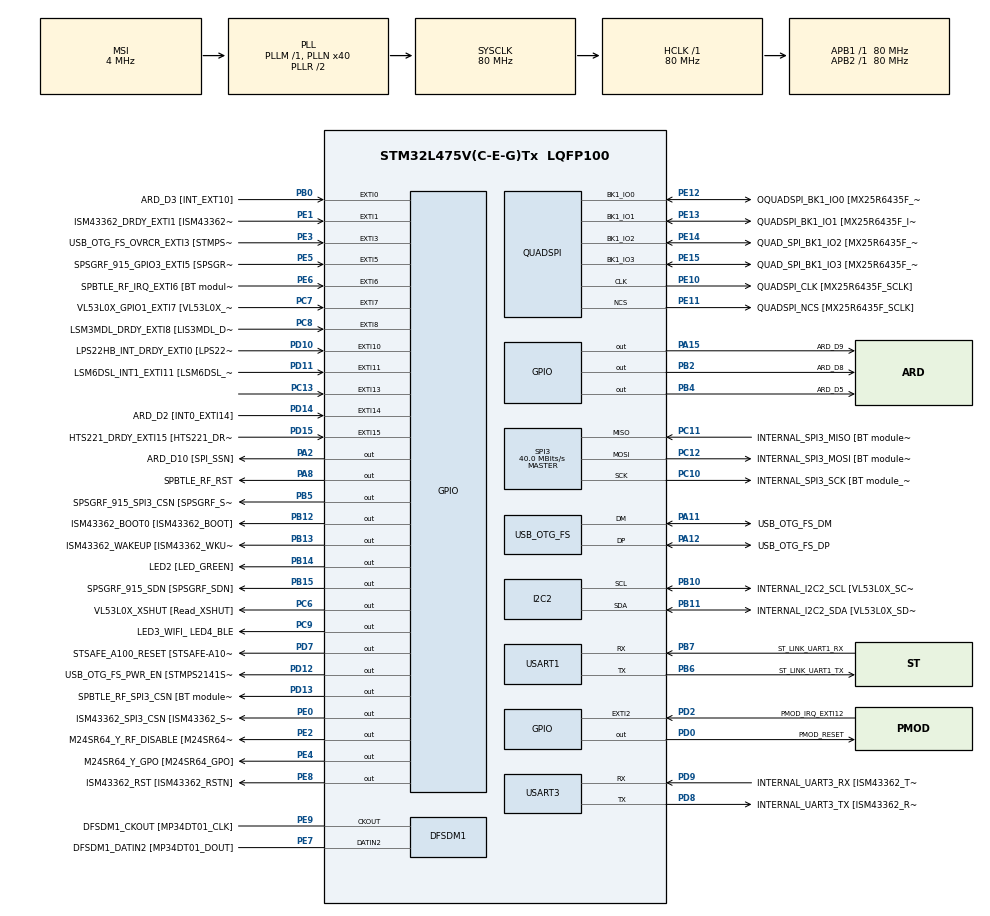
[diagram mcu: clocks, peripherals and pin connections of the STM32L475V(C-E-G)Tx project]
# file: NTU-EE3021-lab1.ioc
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FREERTOS.BinarySemaphores01=task1Sem,Dynamic,NULL,Available;task2Sem,Dynamic,NULL,Available
FREERTOS.Mutexes01=LED_mutex,Dynamic,NULL,Available
FREERTOS.Queues01=blinkQueue,16,uint16_t,0,Dynamic,NULL,NULL
FREERTOS.Tasks01=defaultTask,24,128,StartDefaultTask,Default,NULL,Dynamic,NULL,NULL;myTask02,47,128,StartTask02,Default,NULL,Dynamic,NULL,NULL
FREERTOS.Timers01=task2Timer,task2TimerCallback,osTimerPeriodic,Default,NULL,Dynamic,NULL
Mcu.Family=STM32L4
Mcu.Name=STM32L475V(C-E-G)Tx
Mcu.Package=LQFP100
NVIC.EXTI15_10_IRQn=true\:5\:0\:false\:false\:true\:true\:true\:true\:true
NVIC.EXTI9_5_IRQn=true\:5\:0\:false\:false\:true\:true\:true\:true\:true
NVIC.PriorityGroup=NVIC_PRIORITYGROUP_4
PA0.GPIO_Label=ARD_D1 [UART4_TX]
PA0.Signal=UART4_TX
PA1.GPIO_Label=ARD_D0 [UART4_RX]
PA1.Signal=UART4_RX
PA10.GPIO_Label=USB_OTG_FS_ID
PA10.Signal=USB_OTG_FS_ID
PA11.GPIO_Label=USB_OTG_FS_DM
PA11.Mode=Device_Only
PA11.Signal=USB_OTG_FS_DM
PA12.GPIO_Label=USB_OTG_FS_DP
PA12.Mode=Device_Only
PA12.Signal=USB_OTG_FS_DP
PA13\ (JTMS-SWDIO).GPIO_Label=SYS_JTMS_SWDIO
PA13\ (JTMS-SWDIO).Mode=Serial_Wire
PA13\ (JTMS-SWDIO).Signal=SYS_JTMS-SWDIO
PA14\ (JTCK-SWCLK).GPIO_Label=SYS_JTCK_SWCLK
PA14\ (JTCK-SWCLK).Mode=Serial_Wire
PA14\ (JTCK-SWCLK).Signal=SYS_JTCK-SWCLK
PA15\ (JTDI).GPIO_Label=ARD_D9
PA15\ (JTDI).Signal=GPIO_Output
PA2.GPIO_Label=ARD_D10 [SPI_SSN]
PA2.Signal=GPIO_Output
PA3.GPIO_Label=ARD_D4
PA3.Signal=S_TIM2_CH4
PA4.GPIO_Label=ARD_D7
PA4.Signal=ADCx_IN9
PA5.GPIO_Label=ARD_D13 [SPI1_SCK]
PA5.Signal=SPI1_SCK
PA6.GPIO_Label=ARD_D12 [SPI1_MISO]
PA6.Signal=SPI1_MISO
PA7.GPIO_Label=ARD_D11 [SPI1_MOSI]
PA7.Signal=SPI1_MOSI
PA8.GPIO_Label=SPBTLE_RF_RST
PA8.Signal=GPIO_Output
PA9.GPIO_Label=USB_OTG_FS_VBUS [STMPS2141STR_OUT]
PA9.Signal=USB_OTG_FS_VBUS
PB0.GPIO_Label=ARD_D3 [INT_EXT10]
PB0.Signal=GPXTI0
PB1.GPIO_Label=ARD_D6 [ADC1_IN6]
PB1.Signal=ADCx_IN16
PB10.GPIO_Label=INTERNAL_I2C2_SCL [VL53L0X_SCL]
PB10.GPIO_Pu=GPIO_PULLUP
PB10.Mode=I2C
PB10.Signal=I2C2_SCL
PB11.GPIO_Label=INTERNAL_I2C2_SDA [VL53L0X_SDA]
PB11.GPIO_Pu=GPIO_PULLUP
PB11.Mode=I2C
PB11.Signal=I2C2_SDA
PB12.GPIO_Label=ISM43362_BOOT0 [ISM43362_BOOT]
PB12.Signal=GPIO_Output
PB13.GPIO_Label=ISM43362_WAKEUP [ISM43362_WKUP]
PB13.Signal=GPIO_Output
PB14.GPIO_Label=LED2 [LED_GREEN]
PB14.Signal=GPIO_Output
PB15.GPIO_Label=SPSGRF_915_SDN [SPSGRF_SDN]
PB15.Signal=GPIO_Output
PB2.GPIO_Label=ARD_D8
PB2.Signal=GPIO_Output
PB3\ (JTDO-TRACESWO).GPIO_Label=SYS_JTD0_SWO
PB3\ (JTDO-TRACESWO).Signal=SYS_JTDO-SWO
PB4\ (NJTRST).GPIO_Label=ARD_D5
PB4\ (NJTRST).Signal=GPIO_Output
PB5.GPIO_Label=SPSGRF_915_SPI3_CSN [SPSGRF_SPI_CS]
PB5.PinState=GPIO_PIN_SET
PB5.Signal=GPIO_Output
PB6.GPIO_Label=ST_LINK_UART1_TX
PB6.Mode=Asynchronous
PB6.Signal=USART1_TX
PB7.GPIO_Label=ST_LINK_UART1_RX
PB7.Mode=Asynchronous
PB7.Signal=USART1_RX
PB8.GPIO_Label=ARD_D15 [I2C1_SCL]
PB8.Signal=I2C1_SCL
PB9.GPIO_Label=ARD_D14 [I2C1_SDA]
PB9.Signal=I2C1_SDA
PC0.GPIO_Label=ARD_A5 [ADC]
PC0.Signal=ADCx_IN1
PC1.GPIO_Label=ARD_A4 [ADC]
PC1.Signal=ADCx_IN2
PC10.GPIO_Label=INTERNAL_SPI3_SCK [BT module_SPI_SCLK] [ISM43362_SCK]
PC10.Mode=Full_Duplex_Master
PC10.Signal=SPI3_SCK
PC11.GPIO_Label=INTERNAL_SPI3_MISO [BT module_SPI_MISO] [ISM43362_MISO]
PC11.Mode=Full_Duplex_Master
PC11.Signal=SPI3_MISO
PC12.GPIO_Label=INTERNAL_SPI3_MOSI [BT module_SPI_MOSI] [ISM43362_MOSI]
PC12.Mode=Full_Duplex_Master
PC12.Signal=SPI3_MOSI
PC13.GPIO_ModeDefaultEXTI=GPIO_MODE_IT_RISING_FALLING
PC13.Signal=GPXTI13
PC14-OSC32_IN\ (PC14).Mode=LSE-External-Oscillator
PC14-OSC32_IN\ (PC14).Signal=RCC_OSC32_IN
PC15-OSC32_OUT\ (PC15).Mode=LSE-External-Oscillator
PC15-OSC32_OUT\ (PC15).Signal=RCC_OSC32_OUT
PC2.GPIO_Label=ARD_A3 [ADC]
PC2.Signal=ADCx_IN3
PC3.GPIO_Label=ARD_A2 [ADC]
PC3.Signal=ADCx_IN4
PC4.GPIO_Label=ARD_A1 [ADC]
PC4.Signal=ADCx_IN13
PC5.GPIO_Label=ARD_A0 [ADC]
PC5.Signal=ADCx_IN14
PC6.GPIO_Label=VL53L0X_XSHUT [Read_XSHUT]
PC6.Signal=GPIO_Output
PC7.GPIO_Label=VL53L0X_GPIO1_EXTI7 [VL53L0X_GPIO1]
PC7.Signal=GPXTI7
PC8.GPIO_Label=LSM3MDL_DRDY_EXTI8 [LIS3MDL_DRDY]
PC8.Signal=GPXTI8
PC9.GPIO_Label=LED3_WIFI_ LED4_BLE
PC9.Signal=GPIO_Output
PD0.GPIO_Label=PMOD_RESET
PD0.Signal=GPIO_Output
PD1.GPIO_Label=PMOD_SPI2_SCK
PD1.Signal=SPI2_SCK
PD10.GPIO_Label=LPS22HB_INT_DRDY_EXTI0 [LPS22HB_INT_DRDY] 
PD10.Signal=GPXTI10
PD11.GPIO_Label=LSM6DSL_INT1_EXTI11 [LSM6DSL_INT1]
PD11.Signal=GPXTI11
PD12.GPIO_Label=USB_OTG_FS_PWR_EN [STMPS2141STR_EN]
PD12.Signal=GPIO_Output
PD13.GPIO_Label=SPBTLE_RF_SPI3_CSN [BT module_SPI_CS]
PD13.PinState=GPIO_PIN_SET
PD13.Signal=GPIO_Output
PD14.GPIO_Label=ARD_D2 [INT0_EXTI14]
PD14.Signal=GPXTI14
PD15.GPIO_Label=HTS221_DRDY_EXTI15 [HTS221_DRDY]
PD15.Signal=GPXTI15
PD2.GPIO_Label=PMOD_IRQ_EXTI12
PD2.Signal=GPXTI2
PD3.GPIO_Label=PMOD_UART2_CTS
PD3.Signal=USART2_CTS
PD4.GPIO_Label=PMOD_UART2_RTS
PD4.Signal=USART2_RTS
PD5.GPIO_Label=PMOD_UART2_TX
PD5.Signal=USART2_TX
PD6.GPIO_Label=PMOD_UART2_RX
PD6.Signal=USART2_RX
PD7.GPIO_Label=STSAFE_A100_RESET [STSAFE-A100_RESET]
PD7.Signal=GPIO_Output
PD8.GPIO_Label=INTERNAL_UART3_TX [ISM43362_RX]
PD8.Mode=Asynchronous
PD8.Signal=USART3_TX
PD9.GPIO_Label=INTERNAL_UART3_RX [ISM43362_TX]
PD9.Mode=Asynchronous
PD9.Signal=USART3_RX
PE0.GPIO_Label=ISM43362_SPI3_CSN [ISM43362_SSN]
PE0.PinState=GPIO_PIN_SET
PE0.Signal=GPIO_Output
PE1.GPIO_Label=ISM43362_DRDY_EXTI1 [ISM43362_DATARDY]
PE1.Signal=GPXTI1
PE10.GPIO_Label=QUADSPI_CLK [MX25R6435F_SCLK]
PE10.Mode=Single Bank
PE10.Signal=QUADSPI_CLK
PE11.GPIO_Label=QUADSPI_NCS [MX25R6435F_SCLK]
PE11.Mode=Single Bank
PE11.Signal=QUADSPI_NCS
PE12.GPIO_Label=OQUADSPI_BK1_IO0 [MX25R6435F_IO0]
PE12.Mode=Single Bank
PE12.Signal=QUADSPI_BK1_IO0
PE13.GPIO_Label=QUADSPI_BK1_IO1 [MX25R6435F_IO1]
PE13.Mode=Single Bank
PE13.Signal=QUADSPI_BK1_IO1
PE14.GPIO_Label=QUAD_SPI_BK1_IO2 [MX25R6435F_IO2]
PE14.Mode=Single Bank
PE14.Signal=QUADSPI_BK1_IO2
PE15.GPIO_Label=QUAD_SPI_BK1_IO3 [MX25R6435F_IO3]
PE15.Mode=Single Bank
PE15.Signal=QUADSPI_BK1_IO3
PE2.GPIO_Label=M24SR64_Y_RF_DISABLE [M24SR64_RFDIS]
PE2.Signal=GPIO_Output
PE3.GPIO_Label=USB_OTG_FS_OVRCR_EXTI3 [STMPS2141STR_FAULT]
PE3.Signal=GPXTI3
PE4.GPIO_Label=M24SR64_Y_GPO [M24SR64_GPO]
PE4.Signal=GPIO_Output
PE5.GPIO_Label=SPSGRF_915_GPIO3_EXTI5 [SPSGRF_GPIO_3]
PE5.Signal=GPXTI5
PE6.GPIO_Label=SPBTLE_RF_IRQ_EXTI6 [BT module_SPI_IRQ]
PE6.Signal=GPXTI6
PE7.GPIO_Label=DFSDM1_DATIN2 [MP34DT01_DOUT]
PE7.Signal=S_DATAIN2DFSDM1
PE8.GPIO_Label=ISM43362_RST [ISM43362_RSTN]
PE8.Signal=GPIO_Output
PE9.GPIO_Label=DFSDM1_CKOUT [MP34DT01_CLK]
PE9.Signal=S_CKOUTDFSDM1
ProjectManager.HeapSize=0x200
ProjectManager.StackSize=0x400
ProjectManager.TargetToolchain=STM32CubeIDE
QUADSPI.ClockPrescaler=2
QUADSPI.FifoThreshold=4
QUADSPI.FlashSize=23
QUADSPI.SampleShifting=QSPI_SAMPLE_SHIFTING_HALFCYCLE
RCC.ADCFreq_Value=48000000
RCC.AHBFreq_Value=80000000
RCC.APB1Freq_Value=80000000
RCC.APB1TimFreq_Value=80000000
RCC.APB2Freq_Value=80000000
RCC.APB2TimFreq_Value=80000000
RCC.CortexFreq_Value=80000000
RCC.HCLKFreq_Value=80000000
RCC.HSE_VALUE=8000000
RCC.HSI_VALUE=16000000
RCC.MSI_VALUE=4000000
RCC.PLLN=40
RCC.PLLSAI1N=24
RCC.SYSCLKFreq_VALUE=80000000
RCC.SYSCLKSource=RCC_SYSCLKSOURCE_PLLCLK
RCC.USBFreq_Value=48000000
RCC.VCOOutputFreq_Value=160000000
SH.ADCx_IN1.0=ADC1_IN1
SH.ADCx_IN13.0=ADC1_IN13
SH.ADCx_IN14.0=ADC1_IN14
SH.ADCx_IN16.0=ADC1_IN16
SH.ADCx_IN2.0=ADC1_IN2
SH.ADCx_IN3.0=ADC1_IN3
SH.ADCx_IN4.0=ADC1_IN4
SH.ADCx_IN9.0=ADC1_IN9
SH.S_CKOUTDFSDM1.0=DFSDM1_CKOUT,CKOUT
SH.S_CKOUTDFSDM1.1=DFSDM1_CKOUT,PDM_SPI_Input_from_ch12_and_Internal_Clock
SH.S_DATAIN2DFSDM1.0=DFSDM1_DATIN2,PDM_SPI_Input_from_ch12_and_Internal_Clock
SH.S_TIM2_CH4.0=TIM2_CH4
SPI3.CalculateBaudRate=40.0 MBits/s
SPI3.Direction=SPI_DIRECTION_2LINES
SPI3.Mode=SPI_MODE_MASTER
SPI3.VirtualType=VM_MASTER
USART1.VirtualMode-Asynchronous=VM_ASYNC
USART3.VirtualMode-Asynchronous=VM_ASYNC
USB_OTG_FS.VirtualMode=Device_Only
VP_FREERTOS_VS_CMSIS_V2.Mode=CMSIS_V2
board=B-L475E-IOT01A2

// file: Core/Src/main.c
/* USER CODE BEGIN Header */
/**
 ******************************************************************************
 * @file           : main.c
 * @brief          : Main program body
 ******************************************************************************
 * @attention
 *
 * Copyright (c) 2025 STMicroelectronics.
 * All rights reserved.
 *
 * This software is licensed under terms that can be found in the LICENSE file
 * in the root directory of this software component.
 * If no LICENSE file comes with this software, it is provided AS-IS.
 *
 ******************************************************************************
 */
/* USER CODE END Header */
#include "main.h"
#include "cmsis_os.h"

/* USER CODE BEGIN Includes */
#include <stdbool.h>

/* USER CODE END Includes */

DFSDM_Channel_HandleTypeDef hdfsdm1_channel1;

I2C_HandleTypeDef hi2c2;

QSPI_HandleTypeDef hqspi;

SPI_HandleTypeDef hspi3;

UART_HandleTypeDef huart1;
UART_HandleTypeDef huart3;

PCD_HandleTypeDef hpcd_USB_OTG_FS;

/* Definitions for defaultTask */
osThreadId_t defaultTaskHandle;
const osThreadAttr_t defaultTask_attributes = {
    .name = "defaultTask",
    .stack_size = 128 * 4,
    .priority = (osPriority_t)osPriorityNormal,
};
/* Definitions for myTask02 */
osThreadId_t myTask02Handle;
const osThreadAttr_t myTask02_attributes = {
    .name = "myTask02",
    .stack_size = 128 * 4,
    .priority = (osPriority_t)osPriorityHigh7,
};
/* Definitions for blinkQueue */
osMessageQueueId_t blinkQueueHandle;
const osMessageQueueAttr_t blinkQueue_attributes = {
    .name = "blinkQueue"};
/* Definitions for task2Timer */
osTimerId_t task2TimerHandle;
const osTimerAttr_t task2Timer_attributes = {
    .name = "task2Timer"};
/* Definitions for LED_mutex */
osMutexId_t LED_mutexHandle;
const osMutexAttr_t LED_mutex_attributes = {
    .name = "LED_mutex"};
/* Definitions for task1Sem */
osSemaphoreId_t task1SemHandle;
const osSemaphoreAttr_t task1Sem_attributes = {
    .name = "task1Sem"};
/* Definitions for task2Sem */
osSemaphoreId_t task2SemHandle;
const osSemaphoreAttr_t task2Sem_attributes = {
    .name = "task2Sem"};
/* USER CODE BEGIN PV */

// GPIO_PinState lastButtonState = GPIO_PIN_RESET;
GPIO_PinState newButtonState = GPIO_PIN_RESET;
// GPIO_PinState newButtonStateConfirm = GPIO_PIN_RESET;
// bool isButtonProcessing = false;

uint32_t lastChangeTime = 0;
uint32_t pressTime = 0;
uint32_t durationTime = 0;

/* USER CODE END PV */

void SystemClock_Config(void);
static void MX_GPIO_Init(void);
static void MX_DFSDM1_Init(void);
static void MX_I2C2_Init(void);
static void MX_QUADSPI_Init(void);
static void MX_SPI3_Init(void);
static void MX_USART1_UART_Init(void);
static void MX_USART3_UART_Init(void);
static void MX_USB_OTG_FS_PCD_Init(void);
void StartDefaultTask(void *argument);
void StartTask02(void *argument);
void task2TimerCallback(void *argument);

int main(void) {

    /* MCU Configuration--------------------------------------------------------*/

    /* Reset of all peripherals, Initializes the Flash interface and the Systick. */
    HAL_Init();

    /* Configure the system clock */
    SystemClock_Config();

    /* Initialize all configured peripherals */
    MX_GPIO_Init();
    MX_DFSDM1_Init();
    MX_I2C2_Init();
    MX_QUADSPI_Init();
    MX_SPI3_Init();
    MX_USART1_UART_Init();
    MX_USART3_UART_Init();
    MX_USB_OTG_FS_PCD_Init();

    /* Init scheduler */
    osKernelInitialize();
    /* Create the mutex(es) */
    /* creation of LED_mutex */
    LED_mutexHandle = osMutexNew(&LED_mutex_attributes);

    /* Create the semaphores(s) */
    /* creation of task1Sem */
    task1SemHandle = osSemaphoreNew(1, 1, &task1Sem_attributes);

    /* creation of task2Sem */
    task2SemHandle = osSemaphoreNew(1, 1, &task2Sem_attributes);

    /* Create the timer(s) */
    /* creation of task2Timer */
    task2TimerHandle = osTimerNew(task2TimerCallback, osTimerPeriodic, NULL, &task2Timer_attributes);

    /* USER CODE BEGIN RTOS_TIMERS */
    /* start timers, add new ones, ... */
    osTimerStart(task2TimerHandle, 10000);
    /* USER CODE END RTOS_TIMERS */

    /* Create the queue(s) */
    /* creation of blinkQueue */
    blinkQueueHandle = osMessageQueueNew(16, sizeof(uint32_t), &blinkQueue_attributes);

    /* Create the thread(s) */
    /* creation of defaultTask */
    defaultTaskHandle = osThreadNew(StartDefaultTask, NULL, &defaultTask_attributes);

    /* creation of myTask02 */
    myTask02Handle = osThreadNew(StartTask02, NULL, &myTask02_attributes);

    /* Start scheduler */
    osKernelStart();

    /* We should never get here as control is now taken by the scheduler */

    /* Infinite loop */
    while (1) {

    }
}

void SystemClock_Config(void) {
    RCC_OscInitTypeDef RCC_OscInitStruct = {0};
    RCC_ClkInitTypeDef RCC_ClkInitStruct = {0};

    /** Configure the main internal regulator output voltage
     */
    if (HAL_PWREx_ControlVoltageScaling(PWR_REGULATOR_VOLTAGE_SCALE1) != HAL_OK) {
	Error_Handler();
    }

    /** Configure LSE Drive Capability
     */
    HAL_PWR_EnableBkUpAccess();
    __HAL_RCC_LSEDRIVE_CONFIG(RCC_LSEDRIVE_LOW);

    /** Initializes the RCC Oscillators according to the specified parameters
     * in the RCC_OscInitTypeDef structure.
     */
    RCC_OscInitStruct.OscillatorType = RCC_OSCILLATORTYPE_LSE | RCC_OSCILLATORTYPE_MSI;
    RCC_OscInitStruct.LSEState = RCC_LSE_ON;
    RCC_OscInitStruct.MSIState = RCC_MSI_ON;
    RCC_OscInitStruct.MSICalibrationValue = 0;
    RCC_OscInitStruct.MSIClockRange = RCC_MSIRANGE_6;
    RCC_OscInitStruct.PLL.PLLState = RCC_PLL_ON;
    RCC_OscInitStruct.PLL.PLLSource = RCC_PLLSOURCE_MSI;
    RCC_OscInitStruct.PLL.PLLM = 1;
    RCC_OscInitStruct.PLL.PLLN = 40;
    RCC_OscInitStruct.PLL.PLLP = RCC_PLLP_DIV7;
    RCC_OscInitStruct.PLL.PLLQ = RCC_PLLQ_DIV2;
    RCC_OscInitStruct.PLL.PLLR = RCC_PLLR_DIV2;
    if (HAL_RCC_OscConfig(&RCC_OscInitStruct) != HAL_OK) {
	Error_Handler();
    }

    /** Initializes the CPU, AHB and APB buses clocks
     */
    RCC_ClkInitStruct.ClockType = RCC_CLOCKTYPE_HCLK | RCC_CLOCKTYPE_SYSCLK | RCC_CLOCKTYPE_PCLK1 | RCC_CLOCKTYPE_PCLK2;
    RCC_ClkInitStruct.SYSCLKSource = RCC_SYSCLKSOURCE_PLLCLK;
    RCC_ClkInitStruct.AHBCLKDivider = RCC_SYSCLK_DIV1;
    RCC_ClkInitStruct.APB1CLKDivider = RCC_HCLK_DIV1;
    RCC_ClkInitStruct.APB2CLKDivider = RCC_HCLK_DIV1;

    if (HAL_RCC_ClockConfig(&RCC_ClkInitStruct, FLASH_LATENCY_4) != HAL_OK) {
	Error_Handler();
    }

    /** Enable MSI Auto calibration
     */
    HAL_RCCEx_EnableMSIPLLMode();
}

static void MX_DFSDM1_Init(void) {

    hdfsdm1_channel1.Instance = DFSDM1_Channel1;
    hdfsdm1_channel1.Init.OutputClock.Activation = ENABLE;
    hdfsdm1_channel1.Init.OutputClock.Selection = DFSDM_CHANNEL_OUTPUT_CLOCK_SYSTEM;
    hdfsdm1_channel1.Init.OutputClock.Divider = 2;
    hdfsdm1_channel1.Init.Input.Multiplexer = DFSDM_CHANNEL_EXTERNAL_INPUTS;
    hdfsdm1_channel1.Init.Input.DataPacking = DFSDM_CHANNEL_STANDARD_MODE;
    hdfsdm1_channel1.Init.Input.Pins = DFSDM_CHANNEL_FOLLOWING_CHANNEL_PINS;
    hdfsdm1_channel1.Init.SerialInterface.Type = DFSDM_CHANNEL_SPI_RISING;
    hdfsdm1_channel1.Init.SerialInterface.SpiClock = DFSDM_CHANNEL_SPI_CLOCK_INTERNAL;
    hdfsdm1_channel1.Init.Awd.FilterOrder = DFSDM_CHANNEL_FASTSINC_ORDER;
    hdfsdm1_channel1.Init.Awd.Oversampling = 1;
    hdfsdm1_channel1.Init.Offset = 0;
    hdfsdm1_channel1.Init.RightBitShift = 0x00;
    if (HAL_DFSDM_ChannelInit(&hdfsdm1_channel1) != HAL_OK) {
	Error_Handler();
    }
}

static void MX_I2C2_Init(void) {

    hi2c2.Instance = I2C2;
    hi2c2.Init.Timing = 0x00000E14;
    hi2c2.Init.OwnAddress1 = 0;
    hi2c2.Init.AddressingMode = I2C_ADDRESSINGMODE_7BIT;
    hi2c2.Init.DualAddressMode = I2C_DUALADDRESS_DISABLE;
    hi2c2.Init.OwnAddress2 = 0;
    hi2c2.Init.OwnAddress2Masks = I2C_OA2_NOMASK;
    hi2c2.Init.GeneralCallMode = I2C_GENERALCALL_DISABLE;
    hi2c2.Init.NoStretchMode = I2C_NOSTRETCH_DISABLE;
    if (HAL_I2C_Init(&hi2c2) != HAL_OK) {
	Error_Handler();
    }

    /** Configure Analogue filter
     */
    if (HAL_I2CEx_ConfigAnalogFilter(&hi2c2, I2C_ANALOGFILTER_ENABLE) != HAL_OK) {
	Error_Handler();
    }

    /** Configure Digital filter
     */
    if (HAL_I2CEx_ConfigDigitalFilter(&hi2c2, 0) != HAL_OK) {
	Error_Handler();
    }
}

static void MX_QUADSPI_Init(void) {

    /* QUADSPI parameter configuration*/
    hqspi.Instance = QUADSPI;
    hqspi.Init.ClockPrescaler = 2;
    hqspi.Init.FifoThreshold = 4;
    hqspi.Init.SampleShifting = QSPI_SAMPLE_SHIFTING_HALFCYCLE;
    hqspi.Init.FlashSize = 23;
    hqspi.Init.ChipSelectHighTime = QSPI_CS_HIGH_TIME_1_CYCLE;
    hqspi.Init.ClockMode = QSPI_CLOCK_MODE_0;
    if (HAL_QSPI_Init(&hqspi) != HAL_OK) {
	Error_Handler();
    }
}

static void MX_SPI3_Init(void) {

    /* SPI3 parameter configuration*/
    hspi3.Instance = SPI3;
    hspi3.Init.Mode = SPI_MODE_MASTER;
    hspi3.Init.Direction = SPI_DIRECTION_2LINES;
    hspi3.Init.DataSize = SPI_DATASIZE_4BIT;
    hspi3.Init.CLKPolarity = SPI_POLARITY_LOW;
    hspi3.Init.CLKPhase = SPI_PHASE_1EDGE;
    hspi3.Init.NSS = SPI_NSS_SOFT;
    hspi3.Init.BaudRatePrescaler = SPI_BAUDRATEPRESCALER_2;
    hspi3.Init.FirstBit = SPI_FIRSTBIT_MSB;
    hspi3.Init.TIMode = SPI_TIMODE_DISABLE;
    hspi3.Init.CRCCalculation = SPI_CRCCALCULATION_DISABLE;
    hspi3.Init.CRCPolynomial = 7;
    hspi3.Init.CRCLength = SPI_CRC_LENGTH_DATASIZE;
    hspi3.Init.NSSPMode = SPI_NSS_PULSE_ENABLE;
    if (HAL_SPI_Init(&hspi3) != HAL_OK) {
	Error_Handler();
    }
}

static void MX_USART1_UART_Init(void) {

    huart1.Instance = USART1;
    huart1.Init.BaudRate = 115200;
    huart1.Init.WordLength = UART_WORDLENGTH_8B;
    huart1.Init.StopBits = UART_STOPBITS_1;
    huart1.Init.Parity = UART_PARITY_NONE;
    huart1.Init.Mode = UART_MODE_TX_RX;
    huart1.Init.HwFlowCtl = UART_HWCONTROL_NONE;
    huart1.Init.OverSampling = UART_OVERSAMPLING_16;
    huart1.Init.OneBitSampling = UART_ONE_BIT_SAMPLE_DISABLE;
    huart1.AdvancedInit.AdvFeatureInit = UART_ADVFEATURE_NO_INIT;
    if (HAL_UART_Init(&huart1) != HAL_OK) {
	Error_Handler();
    }
}

static void MX_USART3_UART_Init(void) {

    huart3.Instance = USART3;
    huart3.Init.BaudRate = 115200;
    huart3.Init.WordLength = UART_WORDLENGTH_8B;
    huart3.Init.StopBits = UART_STOPBITS_1;
    huart3.Init.Parity = UART_PARITY_NONE;
    huart3.Init.Mode = UART_MODE_TX_RX;
    huart3.Init.HwFlowCtl = UART_HWCONTROL_NONE;
    huart3.Init.OverSampling = UART_OVERSAMPLING_16;
    huart3.Init.OneBitSampling = UART_ONE_BIT_SAMPLE_DISABLE;
    huart3.AdvancedInit.AdvFeatureInit = UART_ADVFEATURE_NO_INIT;
    if (HAL_UART_Init(&huart3) != HAL_OK) {
	Error_Handler();
    }
}

static void MX_USB_OTG_FS_PCD_Init(void) {

    hpcd_USB_OTG_FS.Instance = USB_OTG_FS;
    hpcd_USB_OTG_FS.Init.dev_endpoints = 6;
    hpcd_USB_OTG_FS.Init.speed = PCD_SPEED_FULL;
    hpcd_USB_OTG_FS.Init.phy_itface = PCD_PHY_EMBEDDED;
    hpcd_USB_OTG_FS.Init.Sof_enable = DISABLE;
    hpcd_USB_OTG_FS.Init.low_power_enable = DISABLE;
    hpcd_USB_OTG_FS.Init.lpm_enable = DISABLE;
    hpcd_USB_OTG_FS.Init.battery_charging_enable = DISABLE;
    hpcd_USB_OTG_FS.Init.use_dedicated_ep1 = DISABLE;
    hpcd_USB_OTG_FS.Init.vbus_sensing_enable = DISABLE;
    if (HAL_PCD_Init(&hpcd_USB_OTG_FS) != HAL_OK) {
	Error_Handler();
    }
}

static void MX_GPIO_Init(void) {
    GPIO_InitTypeDef GPIO_InitStruct = {0};

    /* GPIO Ports Clock Enable */
    __HAL_RCC_GPIOE_CLK_ENABLE();
    __HAL_RCC_GPIOC_CLK_ENABLE();
    __HAL_RCC_GPIOA_CLK_ENABLE();
    __HAL_RCC_GPIOB_CLK_ENABLE();
    __HAL_RCC_GPIOD_CLK_ENABLE();

    /*Configure GPIO pin Output Level */
    HAL_GPIO_WritePin(GPIOE, M24SR64_Y_RF_DISABLE_Pin | M24SR64_Y_GPO_Pin | ISM43362_RST_Pin, GPIO_PIN_RESET);

    /*Configure GPIO pin Output Level */
    HAL_GPIO_WritePin(GPIOA, ARD_D10_Pin | SPBTLE_RF_RST_Pin | ARD_D9_Pin, GPIO_PIN_RESET);

    /*Configure GPIO pin Output Level */
    HAL_GPIO_WritePin(GPIOB, ARD_D8_Pin | ISM43362_BOOT0_Pin | ISM43362_WAKEUP_Pin | LED2_Pin | SPSGRF_915_SDN_Pin | ARD_D5_Pin, GPIO_PIN_RESET);

    /*Configure GPIO pin Output Level */
    HAL_GPIO_WritePin(GPIOD, USB_OTG_FS_PWR_EN_Pin | PMOD_RESET_Pin | STSAFE_A100_RESET_Pin, GPIO_PIN_RESET);

    /*Configure GPIO pin Output Level */
    HAL_GPIO_WritePin(SPBTLE_RF_SPI3_CSN_GPIO_Port, SPBTLE_RF_SPI3_CSN_Pin, GPIO_PIN_SET);

    /*Configure GPIO pin Output Level */
    HAL_GPIO_WritePin(GPIOC, VL53L0X_XSHUT_Pin | LED3_WIFI__LED4_BLE_Pin, GPIO_PIN_RESET);

    /*Configure GPIO pin Output Level */
    HAL_GPIO_WritePin(SPSGRF_915_SPI3_CSN_GPIO_Port, SPSGRF_915_SPI3_CSN_Pin, GPIO_PIN_SET);

    /*Configure GPIO pin Output Level */
    HAL_GPIO_WritePin(ISM43362_SPI3_CSN_GPIO_Port, ISM43362_SPI3_CSN_Pin, GPIO_PIN_SET);

    /*Configure GPIO pins : M24SR64_Y_RF_DISABLE_Pin M24SR64_Y_GPO_Pin ISM43362_RST_Pin ISM43362_SPI3_CSN_Pin */
    GPIO_InitStruct.Pin = M24SR64_Y_RF_DISABLE_Pin | M24SR64_Y_GPO_Pin | ISM43362_RST_Pin | ISM43362_SPI3_CSN_Pin;
    GPIO_InitStruct.Mode = GPIO_MODE_OUTPUT_PP;
    GPIO_InitStruct.Pull = GPIO_NOPULL;
    GPIO_InitStruct.Speed = GPIO_SPEED_FREQ_LOW;
    HAL_GPIO_Init(GPIOE, &GPIO_InitStruct);

    /*Configure GPIO pins : USB_OTG_FS_OVRCR_EXTI3_Pin SPSGRF_915_GPIO3_EXTI5_Pin SPBTLE_RF_IRQ_EXTI6_Pin ISM43362_DRDY_EXTI1_Pin */
    GPIO_InitStruct.Pin = USB_OTG_FS_OVRCR_EXTI3_Pin | SPSGRF_915_GPIO3_EXTI5_Pin | SPBTLE_RF_IRQ_EXTI6_Pin | ISM43362_DRDY_EXTI1_Pin;
    GPIO_InitStruct.Mode = GPIO_MODE_IT_RISING;
    GPIO_InitStruct.Pull = GPIO_NOPULL;
    HAL_GPIO_Init(GPIOE, &GPIO_InitStruct);

    /*Configure GPIO pin : PC13 */
    GPIO_InitStruct.Pin = GPIO_PIN_13;
    GPIO_InitStruct.Mode = GPIO_MODE_IT_RISING_FALLING;
    GPIO_InitStruct.Pull = GPIO_NOPULL;
    HAL_GPIO_Init(GPIOC, &GPIO_InitStruct);

    /*Configure GPIO pins : ARD_A5_Pin ARD_A4_Pin ARD_A3_Pin ARD_A2_Pin
			   ARD_A1_Pin ARD_A0_Pin */
    GPIO_InitStruct.Pin = ARD_A5_Pin | ARD_A4_Pin | ARD_A3_Pin | ARD_A2_Pin | ARD_A1_Pin | ARD_A0_Pin;
    GPIO_InitStruct.Mode = GPIO_MODE_ANALOG_ADC_CONTROL;
    GPIO_InitStruct.Pull = GPIO_NOPULL;
    HAL_GPIO_Init(GPIOC, &GPIO_InitStruct);

    /*Configure GPIO pins : ARD_D1_Pin ARD_D0_Pin */
    GPIO_InitStruct.Pin = ARD_D1_Pin | ARD_D0_Pin;
    GPIO_InitStruct.Mode = GPIO_MODE_AF_PP;
    GPIO_InitStruct.Pull = GPIO_NOPULL;
    GPIO_InitStruct.Speed = GPIO_SPEED_FREQ_VERY_HIGH;
    GPIO_InitStruct.Alternate = GPIO_AF8_UART4;
    HAL_GPIO_Init(GPIOA, &GPIO_InitStruct);

    /*Configure GPIO pins : ARD_D10_Pin SPBTLE_RF_RST_Pin ARD_D9_Pin */
    GPIO_InitStruct.Pin = ARD_D10_Pin | SPBTLE_RF_RST_Pin | ARD_D9_Pin;
    GPIO_InitStruct.Mode = GPIO_MODE_OUTPUT_PP;
    GPIO_InitStruct.Pull = GPIO_NOPULL;
    GPIO_InitStruct.Speed = GPIO_SPEED_FREQ_LOW;
    HAL_GPIO_Init(GPIOA, &GPIO_InitStruct);

    /*Configure GPIO pin : ARD_D4_Pin */
    GPIO_InitStruct.Pin = ARD_D4_Pin;
    GPIO_InitStruct.Mode = GPIO_MODE_AF_PP;
    GPIO_InitStruct.Pull = GPIO_NOPULL;
    GPIO_InitStruct.Speed = GPIO_SPEED_FREQ_LOW;
    GPIO_InitStruct.Alternate = GPIO_AF1_TIM2;
    HAL_GPIO_Init(ARD_D4_GPIO_Port, &GPIO_InitStruct);

    /*Configure GPIO pin : ARD_D7_Pin */
    GPIO_InitStruct.Pin = ARD_D7_Pin;
    GPIO_InitStruct.Mode = GPIO_MODE_ANALOG_ADC_CONTROL;
    GPIO_InitStruct.Pull = GPIO_NOPULL;
    HAL_GPIO_Init(ARD_D7_GPIO_Port, &GPIO_InitStruct);

    /*Configure GPIO pins : ARD_D13_Pin ARD_D12_Pin ARD_D11_Pin */
    GPIO_InitStruct.Pin = ARD_D13_Pin | ARD_D12_Pin | ARD_D11_Pin;
    GPIO_InitStruct.Mode = GPIO_MODE_AF_PP;
    GPIO_InitStruct.Pull = GPIO_NOPULL;
    GPIO_InitStruct.Speed = GPIO_SPEED_FREQ_VERY_HIGH;
    GPIO_InitStruct.Alternate = GPIO_AF5_SPI1;
    HAL_GPIO_Init(GPIOA, &GPIO_InitStruct);

    /*Configure GPIO pin : ARD_D3_Pin */
    GPIO_InitStruct.Pin = ARD_D3_Pin;
    GPIO_InitStruct.Mode = GPIO_MODE_IT_RISING;
    GPIO_InitStruct.Pull = GPIO_NOPULL;
    HAL_GPIO_Init(ARD_D3_GPIO_Port, &GPIO_InitStruct);

    /*Configure GPIO pin : ARD_D6_Pin */
    GPIO_InitStruct.Pin = ARD_D6_Pin;
    GPIO_InitStruct.Mode = GPIO_MODE_ANALOG_ADC_CONTROL;
    GPIO_InitStruct.Pull = GPIO_NOPULL;
    HAL_GPIO_Init(ARD_D6_GPIO_Port, &GPIO_InitStruct);

    /*Configure GPIO pins : ARD_D8_Pin ISM43362_BOOT0_Pin ISM43362_WAKEUP_Pin LED2_Pin
			   SPSGRF_915_SDN_Pin ARD_D5_Pin SPSGRF_915_SPI3_CSN_Pin */
    GPIO_InitStruct.Pin = ARD_D8_Pin | ISM43362_BOOT0_Pin | ISM43362_WAKEUP_Pin | LED2_Pin | SPSGRF_915_SDN_Pin | ARD_D5_Pin | SPSGRF_915_SPI3_CSN_Pin;
    GPIO_InitStruct.Mode = GPIO_MODE_OUTPUT_PP;
    GPIO_InitStruct.Pull = GPIO_NOPULL;
    GPIO_InitStruct.Speed = GPIO_SPEED_FREQ_LOW;
    HAL_GPIO_Init(GPIOB, &GPIO_InitStruct);

    /*Configure GPIO pins : LPS22HB_INT_DRDY_EXTI0_Pin LSM6DSL_INT1_EXTI11_Pin ARD_D2_Pin HTS221_DRDY_EXTI15_Pin
			   PMOD_IRQ_EXTI12_Pin */
    GPIO_InitStruct.Pin = LPS22HB_INT_DRDY_EXTI0_Pin | LSM6DSL_INT1_EXTI11_Pin | ARD_D2_Pin | HTS221_DRDY_EXTI15_Pin | PMOD_IRQ_EXTI12_Pin;
    GPIO_InitStruct.Mode = GPIO_MODE_IT_RISING;
    GPIO_InitStruct.Pull = GPIO_NOPULL;
    HAL_GPIO_Init(GPIOD, &GPIO_InitStruct);

    /*Configure GPIO pins : USB_OTG_FS_PWR_EN_Pin SPBTLE_RF_SPI3_CSN_Pin PMOD_RESET_Pin STSAFE_A100_RESET_Pin */
    GPIO_InitStruct.Pin = USB_OTG_FS_PWR_EN_Pin | SPBTLE_RF_SPI3_CSN_Pin | PMOD_RESET_Pin | STSAFE_A100_RESET_Pin;
    GPIO_InitStruct.Mode = GPIO_MODE_OUTPUT_PP;
    GPIO_InitStruct.Pull = GPIO_NOPULL;
    GPIO_InitStruct.Speed = GPIO_SPEED_FREQ_LOW;
    HAL_GPIO_Init(GPIOD, &GPIO_InitStruct);

    /*Configure GPIO pins : VL53L0X_XSHUT_Pin LED3_WIFI__LED4_BLE_Pin */
    GPIO_InitStruct.Pin = VL53L0X_XSHUT_Pin | LED3_WIFI__LED4_BLE_Pin;
    GPIO_InitStruct.Mode = GPIO_MODE_OUTPUT_PP;
    GPIO_InitStruct.Pull = GPIO_NOPULL;
    GPIO_InitStruct.Speed = GPIO_SPEED_FREQ_LOW;
    HAL_GPIO_Init(GPIOC, &GPIO_InitStruct);

    /*Configure GPIO pins : VL53L0X_GPIO1_EXTI7_Pin LSM3MDL_DRDY_EXTI8_Pin */
    GPIO_InitStruct.Pin = VL53L0X_GPIO1_EXTI7_Pin | LSM3MDL_DRDY_EXTI8_Pin;
    GPIO_InitStruct.Mode = GPIO_MODE_IT_RISING;
    GPIO_InitStruct.Pull = GPIO_NOPULL;
    HAL_GPIO_Init(GPIOC, &GPIO_InitStruct);

    /*Configure GPIO pin : PMOD_SPI2_SCK_Pin */
    GPIO_InitStruct.Pin = PMOD_SPI2_SCK_Pin;
    GPIO_InitStruct.Mode = GPIO_MODE_AF_PP;
    GPIO_InitStruct.Pull = GPIO_NOPULL;
    GPIO_InitStruct.Speed = GPIO_SPEED_FREQ_VERY_HIGH;
    GPIO_InitStruct.Alternate = GPIO_AF5_SPI2;
    HAL_GPIO_Init(PMOD_SPI2_SCK_GPIO_Port, &GPIO_InitStruct);

    /*Configure GPIO pins : PMOD_UART2_CTS_Pin PMOD_UART2_RTS_Pin PMOD_UART2_TX_Pin PMOD_UART2_RX_Pin */
    GPIO_InitStruct.Pin = PMOD_UART2_CTS_Pin | PMOD_UART2_RTS_Pin | PMOD_UART2_TX_Pin | PMOD_UART2_RX_Pin;
    GPIO_InitStruct.Mode = GPIO_MODE_AF_PP;
    GPIO_InitStruct.Pull = GPIO_NOPULL;
    GPIO_InitStruct.Speed = GPIO_SPEED_FREQ_VERY_HIGH;
    GPIO_InitStruct.Alternate = GPIO_AF7_USART2;
    HAL_GPIO_Init(GPIOD, &GPIO_InitStruct);

    /*Configure GPIO pins : ARD_D15_Pin ARD_D14_Pin */
    GPIO_InitStruct.Pin = ARD_D15_Pin | ARD_D14_Pin;
    GPIO_InitStruct.Mode = GPIO_MODE_AF_OD;
    GPIO_InitStruct.Pull = GPIO_NOPULL;
    GPIO_InitStruct.Speed = GPIO_SPEED_FREQ_VERY_HIGH;
    GPIO_InitStruct.Alternate = GPIO_AF4_I2C1;
    HAL_GPIO_Init(GPIOB, &GPIO_InitStruct);

    /* EXTI interrupt init*/
    HAL_NVIC_SetPriority(EXTI9_5_IRQn, 5, 0);
    HAL_NVIC_EnableIRQ(EXTI9_5_IRQn);

    HAL_NVIC_SetPriority(EXTI15_10_IRQn, 5, 0);
    HAL_NVIC_EnableIRQ(EXTI15_10_IRQn);

}

/* USER CODE BEGIN 4 */

void BlinkLED(uint32_t duration, uint32_t freq) {
    uint32_t delayTime = 1000 / (2 * freq);
    for (uint32_t i = 0; i < (duration / delayTime); i++) {
	HAL_GPIO_TogglePin(GPIOB, LED2_Pin);
	osDelay(delayTime);
    }
}

void HAL_GPIO_EXTI_Callback(uint16_t GPIO_Pin) {
    switch (GPIO_Pin) {
    case GPIO_PIN_13:
	// if the previous callback function is processing
	if ((HAL_GetTick() - lastChangeTime) > 50) {
	    newButtonState = HAL_GPIO_ReadPin(GPIOC, GPIO_PIN_13);
	    if (newButtonState == GPIO_PIN_RESET) {
		pressTime = HAL_GetTick();
	    } else {
		durationTime = HAL_GetTick() - pressTime;
		osMessageQueuePut(blinkQueueHandle, &durationTime, 0, 0);
	    }
	}
	lastChangeTime = HAL_GetTick();
	break;
    default:
	break;
    }
}

/* USER CODE END 4 */

void StartDefaultTask(void *argument) {
    /* USER CODE BEGIN 5 */
    /* Infinite loop */
    uint32_t receivedTime;

    for (;;) {
	osMessageQueueGet(blinkQueueHandle, &receivedTime, NULL, osWaitForever);

	osMutexAcquire(LED_mutexHandle, osWaitForever);
	if (receivedTime >= 1000) {
	    BlinkLED(5000, 10);
	} else {
	    BlinkLED(5000, 1);
	}
	osMutexRelease(LED_mutexHandle);
    }
    /* USER CODE END 5 */
}

void StartTask02(void *argument) {
    /* USER CODE BEGIN StartTask02 */
    /* Infinite loop */
    for (;;) {

	osSemaphoreAcquire(task2SemHandle, osWaitForever);
	osMutexAcquire(LED_mutexHandle, osWaitForever);
	BlinkLED(2000, 10);
	osMutexRelease(LED_mutexHandle);
    }
    /* USER CODE END StartTask02 */
}

/* task2TimerCallback function */
void task2TimerCallback(void *argument) {
    /* USER CODE BEGIN task2TimerCallback */
    osSemaphoreRelease(task2SemHandle);
    /* USER CODE END task2TimerCallback */
}

void Error_Handler(void) {
    __disable_irq();
    while (1) {
    }
}
